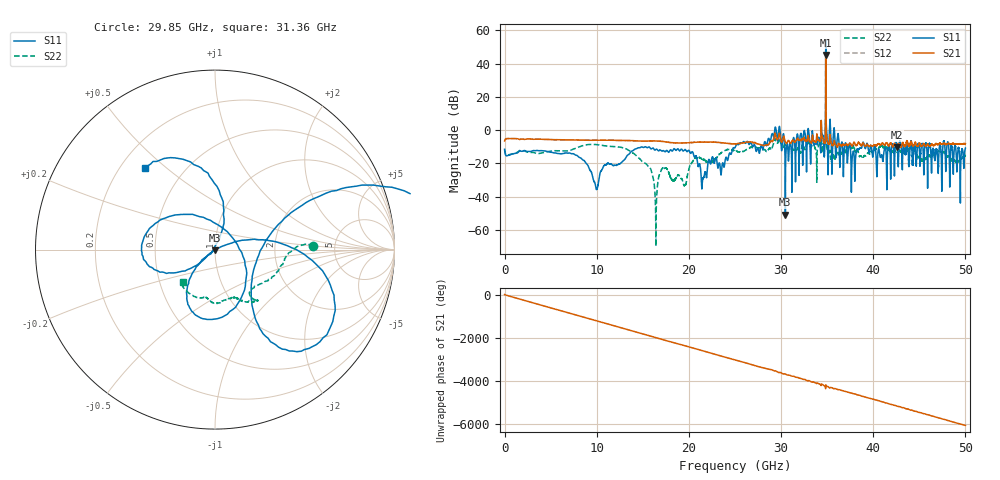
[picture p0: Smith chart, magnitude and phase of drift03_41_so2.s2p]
!Created with skrf (http://scikit-rf.org).
# Hz S RI R 50.0
!freq ReS11 ImS11 ReS21 ImS21 ReS12 ImS12 ReS22 ImS22
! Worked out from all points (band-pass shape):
!   10001 points, 300 kHz to 50 GHz, reference 50 ohm
!   highest |S21| = 45.19 dB at 34.85 GHz (marker M1); lowest = -10.4 dB at 42.55 GHz (marker M2)
!   |S21| within 3 dB of the highest: 34.84454 GHz to 34.84553 GHz (991.6 kHz wide, 0.00285 % of centre)
!   lowest |S11| = -50.9 dB at 30.47 GHz (marker M3), VSWR 1.01, Z = 50 - j0.285 ohm
!   |S11| at or under -10 dB: start of sweep to 15.23 GHz; 15.31 GHz to 25.05 GHz (9.74 GHz wide, 48.3 % of centre); 40.22 GHz to 41.62 GHz (1.4 GHz wide, 3.42 % of centre) (the widest 3 of 50)
!   |S22| runs from -69.8 to 36.2 dB; largest |S21 - S12| = 25
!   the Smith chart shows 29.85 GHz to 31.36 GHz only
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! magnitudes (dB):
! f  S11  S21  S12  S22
! 300 kHz  -11.5  -6.5  -6.5  -11.4
! 8.335 GHz  -17.1  -6.0  -6.0  -9.6
! 9.955 GHz  -35.5  -6.1  -6.1  -8.7
! 11 GHz  -20.8  -6.0  -6.1  -9.5
! 13.95 GHz  -12.2  -6.4  -6.4  -13.8
! 16.36 GHz  -11.9  -6.5  -6.5  -43.0
! 16.67 GHz  -12.4  -6.5  -6.5  -29.7
! 17.34 GHz  -12.8  -6.9  -6.9  -22.9
! 19.55 GHz  -11.7  -7.7  -7.7  -33.2
! 20.21 GHz  -13.9  -7.4  -7.5  -20.3
! 21.55 GHz  -28.8  -7.2  -7.2  -17.7
! 25 GHz  -10.6  -8.3  -8.2  -12.6
! 29.6 GHz  -5.5  -5.7  -5.9  -7.8
! 30.47 GHz  -50.9  -7.2  -7.2  -9.0
! 33.34 GHz  -3.8  -6.8  -6.7  -9.3
! 34.85 GHz  54.0  45.2  45.0  36.2
! 35.63 GHz  -6.6  -9.2  -9.1  -16.1
! 37.82 GHz  -12.8  -8.4  -8.3  -10.0
! 38.81 GHz  -9.0  -8.3  -8.2  -16.1
! 41.67 GHz  -9.3  -9.5  -9.3  -11.3
! 42.55 GHz  -8.5  -10.4  -10.4  -13.1
! 50 GHz  -10.7  -8.1  -8.2  -15.5
